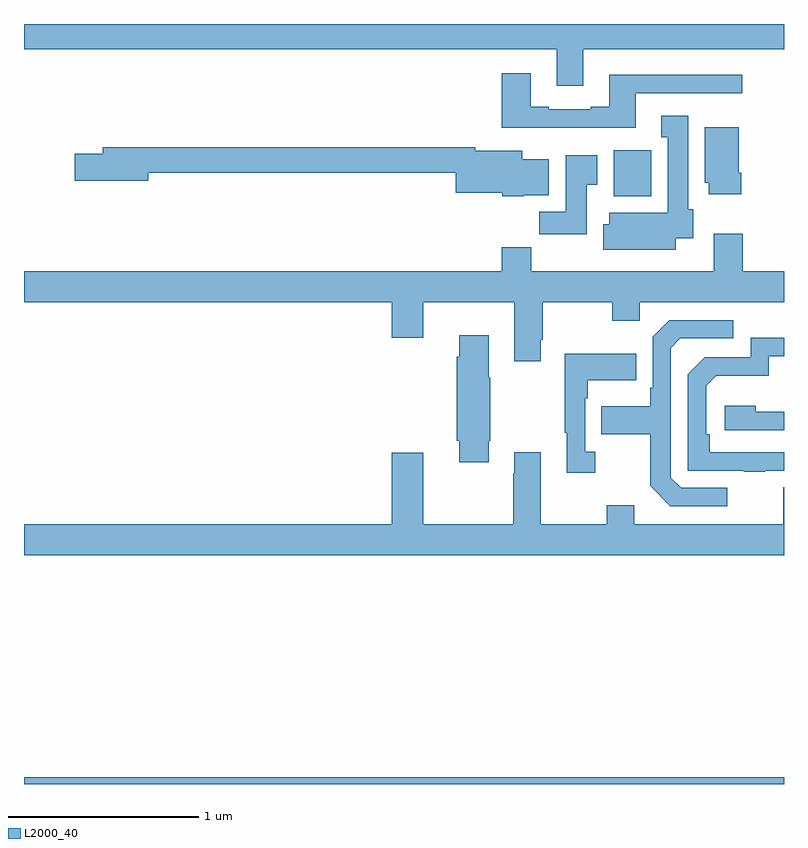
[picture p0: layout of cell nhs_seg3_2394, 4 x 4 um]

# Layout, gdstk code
import gdstk
lib = gdstk.Library(unit=1e-6, precision=1e-09)
def R(c, l, rs):  # rectangles x0, y0, x1, y1
    for r in rs: c.add(gdstk.rectangle(r[:2], r[2:], *l))
def P(c, l, *ps):  # polygons
    for p in ps: c.add(gdstk.Polygon(p, *l))
L2000_40 = (2000, 40)

nhs_seg3_2394 = lib.new_cell('nhs_seg3_2394')
R(nhs_seg3_2394, L2000_40, [(235,678.4,239,678.436), (238.103,681.494,238.3,681.736)])
P(nhs_seg3_2394, L2000_40, [(237.943,682.268),(239,682.268),(239,682.4),(235,682.4),(235,682.268),(237.803,682.268),(237.803,682.074),(237.943,682.074)],
  [(238.219,682.035),(238.78,682.035),(238.78,682.132),(238.079,682.132),(238.079,681.964),(237.983,681.964),(237.983,681.951),(237.763,681.951),(237.763,681.964),(237.667,681.964),(237.667,682.141),(237.515,682.141),(237.515,681.854),(238.219,681.854)],
  [(238.429,681.272),(238.522,681.272),(238.522,681.426),(238.495,681.426),(238.495,681.916),(238.355,681.916),(238.355,681.803),(238.388,681.803),(238.388,681.406),(238.079,681.406),(238.079,681.347),(238.049,681.347),(238.049,681.212),(238.429,681.212)],
  [(238.775,681.616),(238.762,681.616),(238.762,681.856),(238.583,681.856),(238.583,681.564),(238.604,681.564),(238.604,681.504),(238.775,681.504)],
  [(237.63,681.5),(237.763,681.5),(237.763,681.688),(237.622,681.688),(237.622,681.733),(237.376,681.733),(237.376,681.752),(235.415,681.752),(235.415,681.716),(235.266,681.716),(235.266,681.574),(235.654,681.574),(235.654,681.616),(237.272,681.616),(237.272,681.512),(237.516,681.512),(237.516,681.494),(237.63,681.494)],
  [(237.961,681.553),(238.018,681.553),(238.018,681.709),(237.851,681.709),(237.851,681.412),(237.712,681.412),(237.712,681.294),(237.961,681.294)],
  [(237.721,680.737),(237.729,680.737),(237.729,680.936),(238.096,680.936),(238.096,680.837),(238.242,680.837),(238.242,680.936),(239,680.936),(239,681.1),(238.784,681.1),(238.784,681.295),(238.631,681.295),(238.631,681.1),(237.671,681.1),(237.671,681.224),(237.515,681.224),(237.515,681.1),(235,681.1),(235,680.936),(236.936,680.936),(236.936,680.748),(237.1,680.748),(237.1,680.936),(237.581,680.936),(237.581,680.625),(237.721,680.625)],
  [(238.702,679.959),(238.458,679.959),(238.404,680.013),(238.404,680.694),(238.455,680.745),(238.732,680.745),(238.732,680.841),(238.395,680.841),(238.308,680.754),(238.308,680.485),(238.296,680.485),(238.296,680.389),(238.039,680.389),(238.039,680.242),(238.296,680.242),(238.296,679.969),(238.401,679.863),(238.702,679.863)],
  [(237.445,680.206),(237.453,680.206),(237.453,680.537),(237.445,680.537),(237.445,680.761),(237.29,680.761),(237.29,680.648),(237.278,680.648),(237.278,680.206),(237.29,680.206),(237.29,680.094),(237.445,680.094)],
  [(238.901,680.049),(239,680.049),(239,680.145),(238.61,680.145),(238.61,680.242),(238.59,680.242),(238.59,680.496),(238.643,680.549),(238.92,680.549),(238.92,680.652),(239,680.652),(239,680.748),(238.824,680.748),(238.824,680.646),(238.584,680.646),(238.494,680.556),(238.494,680.049),(238.789,680.049),(238.789,680.044),(238.901,680.044)],
  [(238.006,680.15),(237.954,680.15),(237.954,680.429),(237.967,680.429),(237.967,680.525),(238.223,680.525),(238.223,680.665),(237.846,680.665),(237.846,680.249),(237.857,680.249),(237.857,680.037),(238.006,680.037)],
  [(239,680.358),(238.85,680.358),(238.85,680.392),(238.689,680.392),(238.689,680.262),(239,680.262)],
  [(239,679.963),(238.997,679.963),(238.997,679.768),(238.213,679.768),(238.213,679.867),(238.066,679.867),(238.066,679.768),(237.721,679.768),(237.721,680.146),(237.581,680.146),(237.581,680.033),(237.574,680.033),(237.574,679.768),(237.1,679.768),(237.1,680.143),(236.936,680.143),(236.936,679.768),(235,679.768),(235,679.604),(239,679.604)])

lib.write_gds('nhs_seg3_2394.gds')
